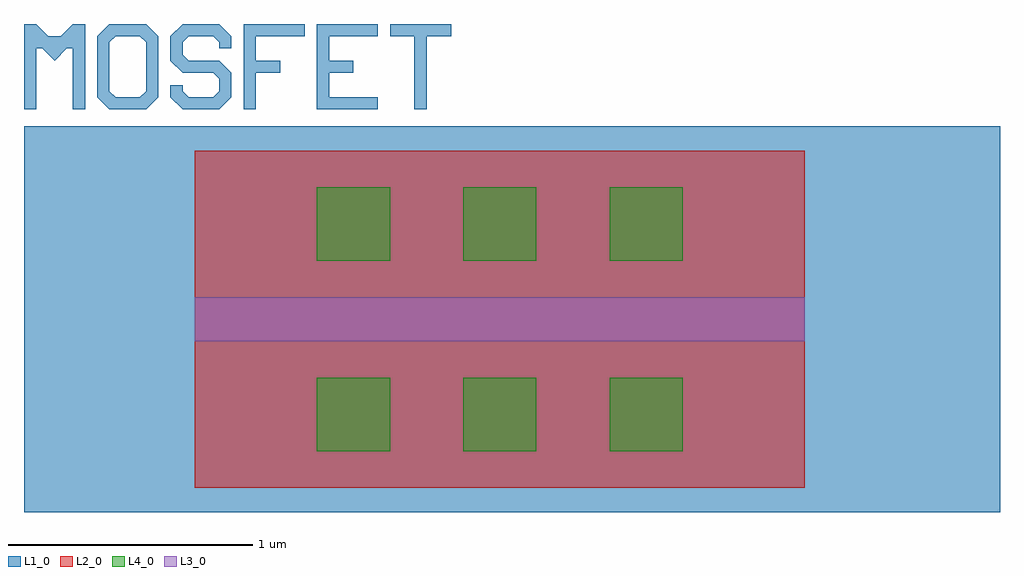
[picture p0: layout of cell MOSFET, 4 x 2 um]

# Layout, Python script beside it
import pya

layout = pya.Layout()
mosfet = layout.create_cell("MOSFET")


# Well Layer
l1 = layout.layer(1,0)
mosfet.shapes(l1).insert(pya.Box(800, 6750, 4800, 8330))

# Active Layer
l2 = layout.layer(2,0)
mosfet.shapes(l2).insert(pya.Box(1500, 6850, 4000, 8230))


# Gate Layer
l3 = layout.layer(3,0)
mosfet.shapes(l3).insert(pya.Box(1500, 7450, 4000, 7630))

# Contact Layer
l4 = layout.layer(4,0)
mosfet.shapes(l4).insert(pya.Box(2000, 7780, 2300, 8080)) ## Drain Contact
mosfet.shapes(l4).insert(pya.Box(2600, 7780, 2900, 8080))
mosfet.shapes(l4).insert(pya.Box(3200, 7780, 3500, 8080))

mosfet.shapes(l4).insert(pya.Box(2000, 7000, 2300, 7300)) ## Source Contact
mosfet.shapes(l4).insert(pya.Box(2600, 7000, 2900, 7300))
mosfet.shapes(l4).insert(pya.Box(3200, 7000, 3500, 7300))


# Insert Text
gen = pya.TextGenerator()

text = gen.default_generator().text("MOSFET", 0.002)
text.transform(pya.Trans(pya.Point(800, 8400)))
mosfet.shapes(l1).insert(text)

layout.write("mosfet.gds")
